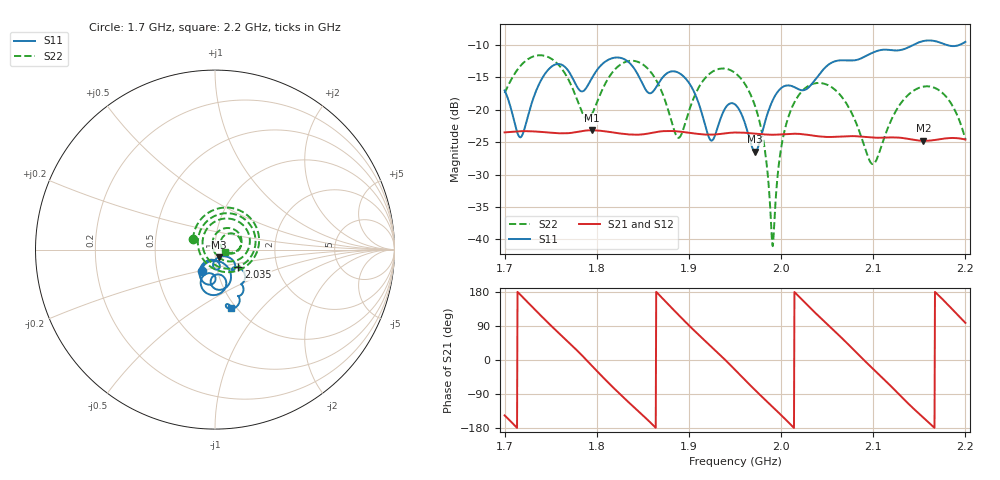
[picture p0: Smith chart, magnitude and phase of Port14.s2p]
# Hz S RI R 50
! CMT, CMT808U, 21440046, 21.4.3/4
! Date: 11/20/2025 11:42:34 PM
! Data: Format (Calibration Info)
! Freq	S11:Re/Im(F2)	S41:Re/Im(F2)	S14:Re/Im(F2)	S44:Re/Im(F2)
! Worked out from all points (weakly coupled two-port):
!   1001 points, 1.7 GHz to 2.2 GHz, reference 50 ohm
!   highest |S21| = -23.16 dB at 1.794 GHz (marker M1); lowest = -24.8 dB at 2.155 GHz (marker M2)
!   lowest |S11| = -26.5 dB at 1.972 GHz (marker M3), VSWR 1.10, Z = 51.9 - j4.43 ohm
!   |S11| at or under -10 dB: start of sweep to 2.143 GHz; 2.18 GHz to 2.193 GHz (12.61 MHz wide, 0.577 % of centre)
!   |S22| runs from -41.1 to -11.6 dB; largest |S21 - S12| = 0.0007
!   S11 on the Smith chart (normalised r, x): 1.7 GHz: 0.84, -0.21; 2.035 GHz: 1.27, -0.26; 2.2 GHz: 0.95, -0.69
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1.7e9  -0.0737 -0.1204  -0.0556 -0.0373  -0.056 -0.037  -0.1219 0.0575
1.7175e9  0.00198 -0.0614  -0.0675 0.0106  -0.0677 0.0112  -0.0103 0.2196
1.7435e9  0.0879 -0.1667  -0.0197 0.0642  -0.0192 0.0646  0.2332 0.1178
1.7835e9  0.0105 -0.1384  0.0666 0.0158  0.067 0.0153  -0.0268 -0.0941
1.7945e9  0.0578 -0.1648  0.0673 -0.0176  0.0673 -0.0181  -0.0917 0.00423
1.83e9  -0.0489 -0.2411  -0.0126 -0.0638  -0.0132 -0.0639  0.1433 0.1836
1.867e9  0.00304 -0.16  -0.0674 0.0075  -0.0675 0.0081  0.1219 -0.0989
1.889e9  -0.0646 -0.1819  -0.0322 0.0599  -0.0317 0.0603  -0.0553 -0.0252
1.924e9  -0.0117 -0.0567  0.0521 0.0377  0.0525 0.0372  0.092 0.1706
1.95e9  0.00147 -0.1101  0.0601 -0.0291  0.06 -0.0297  0.1918 0.0226
1.972e9  0.0208 -0.0426  0.0116 -0.0645  0.011 -0.0647  0.0827 -0.0661
1.982e9  0.0672 -0.0395  -0.015 -0.0628  -0.0156 -0.0627  0.0236 -0.0455
1.991e9  0.1015 -0.0619  -0.0361 -0.053  -0.0367 -0.0528  -0.0085 -0.00244
2.0055e9  0.1082 -0.1095  -0.0604 -0.0239  -0.0608 -0.0233  -0.00226 0.0771
2.0335e9  0.1255 -0.0975  -0.0432 0.0464  -0.0427 0.0469  0.1167 0.1063
2.035e9  0.1307 -0.099  -0.0401 0.0489  -0.0396 0.0493  0.1219 0.1024
2.0675e9  0.1511 -0.1884  0.0365 0.0506  0.037 0.0503  0.1214 -0.00687
2.0985e9  0.1587 -0.2242  0.0573 -0.0213  0.0572 -0.0218  0.0364 0.012
2.117e9  0.1334 -0.2581  0.0271 -0.0548  0.0266 -0.0552  0.0394 0.0648
2.1545e9  0.1192 -0.3187  -0.051 -0.0268  -0.0513 -0.0263  0.1368 0.0642
2.1795e9  0.0602 -0.3118  -0.052 0.0304  -0.0517 0.0309  0.125 -0.00969
2.2e9  0.087 -0.3235  -0.00812 0.0584  -0.00757 0.0585  0.0575 -0.0146
